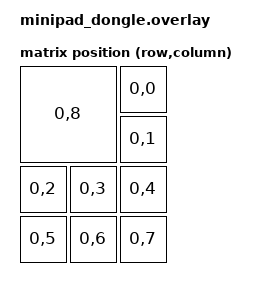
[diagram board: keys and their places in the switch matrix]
#include <dt-bindings/zmk/matrix_transform.h>
#include "minipad-layouts.dtsi"

&physical_layout_minipad {
    transform = <&matrix_transform0>;
};

/ {
    chosen {
        zmk,kscan = &mock_kscan;
        zmk,physical-layout = &physical_layout_minipad;
    };

    mock_kscan: mock_kscan_0 {
        compatible = "zmk,kscan-mock";
        columns = <0>;
        rows = <0>;
        events = <0>;
    };

    matrix_transform0: matrix_transform0 {
            compatible = "zmk,matrix-transform";
            columns = <9>;
            rows = <1>;
            map = <
                RC(0,0) RC(0,1) RC(0,2) RC(0,3) RC(0,4) RC(0,5) RC(0,6) RC(0,7) RC(0,8)
                >;
    };

    physical_layout_minipad: physical_layout_minipad {
        compatible = "zmk,physical-layout";
        display-name = "minipad";
        keys  //                     w   h    x    y     rot    rx    ry
            = <&key_physical_attrs 100 100  200    0       0     0     0>
            , <&key_physical_attrs 100 100  200  100       0     0     0>
            , <&key_physical_attrs 100 100    0  200       0     0     0>
            , <&key_physical_attrs 100 100  100  200       0     0     0>
            , <&key_physical_attrs 100 100  200  200       0     0     0>
            , <&key_physical_attrs 100 100    0  300       0     0     0>
            , <&key_physical_attrs 100 100  100  300       0     0     0>
            , <&key_physical_attrs 100 100  200  300       0     0     0>
            , <&key_physical_attrs 200 200    0    0       0     0     0>
            ;
    };
};
